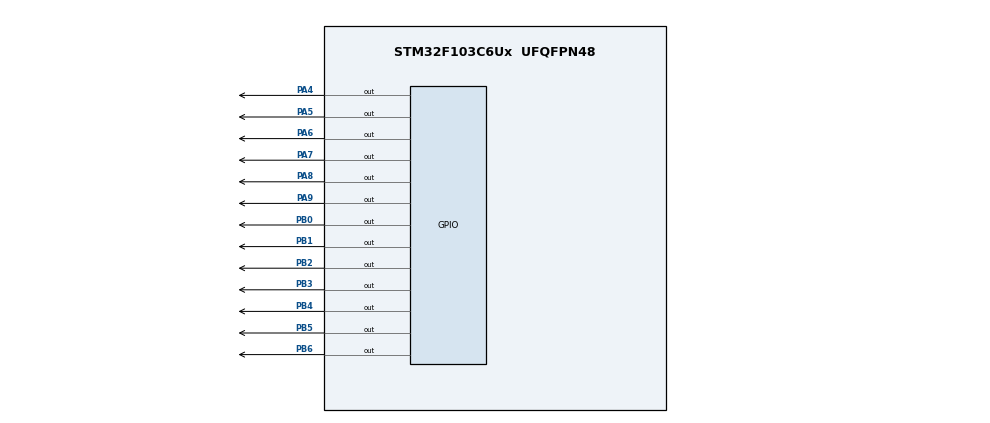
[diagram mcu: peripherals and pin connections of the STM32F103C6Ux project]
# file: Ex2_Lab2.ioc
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Mcu.Family=STM32F1
Mcu.Name=STM32F103C6Ux
Mcu.Package=UFQFPN48
NVIC.PriorityGroup=NVIC_PRIORITYGROUP_4
NVIC.TIM2_IRQn=true\:0\:0\:false\:false\:true\:true\:true
PA4.Signal=GPIO_Output
PA5.Signal=GPIO_Output
PA6.Signal=GPIO_Output
PA7.Signal=GPIO_Output
PA8.Signal=GPIO_Output
PA9.Signal=GPIO_Output
PB0.Signal=GPIO_Output
PB1.Signal=GPIO_Output
PB2.Signal=GPIO_Output
PB3.Signal=GPIO_Output
PB4.Signal=GPIO_Output
PB5.Signal=GPIO_Output
PB6.Signal=GPIO_Output
ProjectManager.HeapSize=0x200
ProjectManager.StackSize=0x400
ProjectManager.TargetToolchain=STM32CubeIDE
RCC.APB1Freq_Value=8000000
RCC.APB2Freq_Value=8000000
TIM2.Period=9
TIM2.Prescaler=7999
VP_SYS_VS_ND.Mode=No_Debug
VP_TIM2_VS_ClockSourceINT.Mode=Internal
board=custom

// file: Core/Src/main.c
/* USER CODE BEGIN Header */
/**
  ******************************************************************************
  * @file           : main.c
  * @brief          : Main program body
  ******************************************************************************
  * @attention
  *
  * <h2><center>&copy; Copyright (c) 2025 STMicroelectronics.
  * All rights reserved.</center></h2>
  *
  * This software component is licensed by ST under BSD 3-Clause license,
  * the "License"; You may not use this file except in compliance with the
  * License. You may obtain a copy of the License at:
  *                        opensource.org/licenses/BSD-3-Clause
  *
  ******************************************************************************
  */
/* USER CODE END Header */
#include "main.h"

/* USER CODE BEGIN Includes */
#include "software_timer.h"
/* USER CODE END Includes */

TIM_HandleTypeDef htim2;

void SystemClock_Config(void);
static void MX_GPIO_Init(void);
static void MX_TIM2_Init(void);

int main(void)
{
  /* USER CODE BEGIN 1 */
	#define SEG_PORT GPIOB
	#define SEG_A    GPIO_PIN_0
	#define SEG_B    GPIO_PIN_1
	#define SEG_C    GPIO_PIN_2
	#define SEG_D    GPIO_PIN_3
	#define SEG_E    GPIO_PIN_4
	#define SEG_F    GPIO_PIN_5
	#define SEG_G    GPIO_PIN_6
	static const uint8_t SEG_CC_PATTERN[10] = {
			/*0*/ 0b0111111,  // a b c d e f
			/*1*/ 0b0000110,  // b c
			/*2*/ 0b1011011,  // a b d e g
			/*3*/ 0b1001111,  // a b c d g
			/*4*/ 0b1100110,  // b c f g
			/*5*/ 0b1101101,  // a c d f g
			/*6*/ 0b1111101,  // a c d e f g
			/*7*/ 0b0000111,  // a b c
			/*8*/ 0b1111111,  // a b c d e f g
			/*9*/ 0b1101111   // a b c d f g
	};
	static const uint16_t SEG_PINS[7] = {SEG_A, SEG_B, SEG_C, SEG_D, SEG_E, SEG_F, SEG_G};

	void display7SEG(int num)
	{
		if (num < 0 || num > 9) {  // invalid → turn all OFF
			HAL_GPIO_WritePin(SEG_PORT,SEG_A|SEG_B|SEG_C|SEG_D|SEG_E|SEG_F|SEG_G, SET); // OFF for common-anode
			return;
		}

		uint8_t pat = SEG_CC_PATTERN[num];  // 1 bits mean "segment ON" (CC logic)

		// Write each segment: ON→RESET, OFF→SET for common-anode
		for (int i = 0; i < 7; ++i) {
			GPIO_PinState level = (pat & (1u << i)) ? GPIO_PIN_RESET  // ON
													: GPIO_PIN_SET;   // OFF
			HAL_GPIO_WritePin(SEG_PORT, SEG_PINS[i], level);
		}
	}
  /* USER CODE END 1 */

  /* MCU Configuration--------------------------------------------------------*/

  /* Reset of all peripherals, Initializes the Flash interface and the Systick. */
  HAL_Init();

  /* Configure the system clock */
  SystemClock_Config();

  /* Initialize all configured peripherals */
  MX_GPIO_Init();
  MX_TIM2_Init();
  /* USER CODE BEGIN 2 */
  HAL_TIM_Base_Start_IT (& htim2 ) ;
  /* USER CODE END 2 */

  /* Infinite loop */
  /* USER CODE BEGIN WHILE */
  void enable(int ena){
	  HAL_GPIO_WritePin(GPIOA, GPIO_PIN_6|GPIO_PIN_7|GPIO_PIN_8|GPIO_PIN_9, GPIO_PIN_SET);
	  switch(ena){
	  case 1:
		  HAL_GPIO_WritePin(GPIOA, GPIO_PIN_6, GPIO_PIN_RESET);
		  break;
	  case 2:
		  HAL_GPIO_WritePin(GPIOA, GPIO_PIN_7, GPIO_PIN_RESET);
		  break;
	  case 3:
		  HAL_GPIO_WritePin(GPIOA, GPIO_PIN_8, GPIO_PIN_RESET);
		  break;
	  case 4:
		  HAL_GPIO_WritePin(GPIOA, GPIO_PIN_9, GPIO_PIN_RESET);
		  break;
	  default:
		  break;
  	  }
  }
  int status = 1;
  setTimer1(50);
  int led_buffer[4] = {1, 2, 3, 0};
  while (1)
  {
	  if(timer1_flag==1){
	  		  switch(status){
	  		  	  case 1:
	  		  		  display7SEG(led_buffer[0]);
	  		  		  enable(status);
	  		  		  status = 2	;
	  			  break;
	  		  	  case 2:
	  		  		  display7SEG(led_buffer[1]);
	  		  		  enable(status);
	  		  		  status = 3	;
	  		  		  break;
	  		  	  case 3:
					  display7SEG(led_buffer[2]);
					  enable(status);
					  status = 4	;
					  break;
	  		  	  case 4:
					  display7SEG(led_buffer[3]);
					  enable(status);
					  status = 1	;
					  break;
	  		  	  default:
	  		  		  break;
	  		  }
	  		  HAL_GPIO_TogglePin(GPIOA, GPIO_PIN_5);
	  		  setTimer1(50);
	  }
  }
}

void SystemClock_Config(void)
{
  RCC_OscInitTypeDef RCC_OscInitStruct = {0};
  RCC_ClkInitTypeDef RCC_ClkInitStruct = {0};

  /** Initializes the RCC Oscillators according to the specified parameters
  * in the RCC_OscInitTypeDef structure.
  */
  RCC_OscInitStruct.OscillatorType = RCC_OSCILLATORTYPE_HSI;
  RCC_OscInitStruct.HSIState = RCC_HSI_ON;
  RCC_OscInitStruct.HSICalibrationValue = RCC_HSICALIBRATION_DEFAULT;
  RCC_OscInitStruct.PLL.PLLState = RCC_PLL_NONE;
  if (HAL_RCC_OscConfig(&RCC_OscInitStruct) != HAL_OK)
  {
    Error_Handler();
  }
  /** Initializes the CPU, AHB and APB buses clocks
  */
  RCC_ClkInitStruct.ClockType = RCC_CLOCKTYPE_HCLK|RCC_CLOCKTYPE_SYSCLK
                              |RCC_CLOCKTYPE_PCLK1|RCC_CLOCKTYPE_PCLK2;
  RCC_ClkInitStruct.SYSCLKSource = RCC_SYSCLKSOURCE_HSI;
  RCC_ClkInitStruct.AHBCLKDivider = RCC_SYSCLK_DIV1;
  RCC_ClkInitStruct.APB1CLKDivider = RCC_HCLK_DIV1;
  RCC_ClkInitStruct.APB2CLKDivider = RCC_HCLK_DIV1;

  if (HAL_RCC_ClockConfig(&RCC_ClkInitStruct, FLASH_LATENCY_0) != HAL_OK)
  {
    Error_Handler();
  }
}

static void MX_TIM2_Init(void)
{

  TIM_ClockConfigTypeDef sClockSourceConfig = {0};
  TIM_MasterConfigTypeDef sMasterConfig = {0};

  htim2.Instance = TIM2;
  htim2.Init.Prescaler = 7999;
  htim2.Init.CounterMode = TIM_COUNTERMODE_UP;
  htim2.Init.Period = 9;
  htim2.Init.ClockDivision = TIM_CLOCKDIVISION_DIV1;
  htim2.Init.AutoReloadPreload = TIM_AUTORELOAD_PRELOAD_DISABLE;
  if (HAL_TIM_Base_Init(&htim2) != HAL_OK)
  {
    Error_Handler();
  }
  sClockSourceConfig.ClockSource = TIM_CLOCKSOURCE_INTERNAL;
  if (HAL_TIM_ConfigClockSource(&htim2, &sClockSourceConfig) != HAL_OK)
  {
    Error_Handler();
  }
  sMasterConfig.MasterOutputTrigger = TIM_TRGO_RESET;
  sMasterConfig.MasterSlaveMode = TIM_MASTERSLAVEMODE_DISABLE;
  if (HAL_TIMEx_MasterConfigSynchronization(&htim2, &sMasterConfig) != HAL_OK)
  {
    Error_Handler();
  }

}

static void MX_GPIO_Init(void)
{
  GPIO_InitTypeDef GPIO_InitStruct = {0};

  /* GPIO Ports Clock Enable */
  __HAL_RCC_GPIOA_CLK_ENABLE();
  __HAL_RCC_GPIOB_CLK_ENABLE();

  /*Configure GPIO pin Output Level */
  HAL_GPIO_WritePin(GPIOA, GPIO_PIN_4|GPIO_PIN_5|GPIO_PIN_6|GPIO_PIN_7
                          |GPIO_PIN_8|GPIO_PIN_9, GPIO_PIN_RESET);

  /*Configure GPIO pin Output Level */
  HAL_GPIO_WritePin(GPIOB, GPIO_PIN_0|GPIO_PIN_1|GPIO_PIN_2|GPIO_PIN_3
                          |GPIO_PIN_4|GPIO_PIN_5|GPIO_PIN_6, GPIO_PIN_RESET);

  /*Configure GPIO pins : PA4 PA5 PA6 PA7
                           PA8 PA9 */
  GPIO_InitStruct.Pin = GPIO_PIN_4|GPIO_PIN_5|GPIO_PIN_6|GPIO_PIN_7
                          |GPIO_PIN_8|GPIO_PIN_9;
  GPIO_InitStruct.Mode = GPIO_MODE_OUTPUT_PP;
  GPIO_InitStruct.Pull = GPIO_NOPULL;
  GPIO_InitStruct.Speed = GPIO_SPEED_FREQ_LOW;
  HAL_GPIO_Init(GPIOA, &GPIO_InitStruct);

  /*Configure GPIO pins : PB0 PB1 PB2 PB3
                           PB4 PB5 PB6 */
  GPIO_InitStruct.Pin = GPIO_PIN_0|GPIO_PIN_1|GPIO_PIN_2|GPIO_PIN_3
                          |GPIO_PIN_4|GPIO_PIN_5|GPIO_PIN_6;
  GPIO_InitStruct.Mode = GPIO_MODE_OUTPUT_PP;
  GPIO_InitStruct.Pull = GPIO_NOPULL;
  GPIO_InitStruct.Speed = GPIO_SPEED_FREQ_LOW;
  HAL_GPIO_Init(GPIOB, &GPIO_InitStruct);

}

/* USER CODE BEGIN 4 */
void HAL_TIM_PeriodElapsedCallback ( TIM_HandleTypeDef * htim ){
	timerRun();
}
/* USER CODE END 4 */

void Error_Handler(void)
{
  __disable_irq();
  while (1)
  {
  }
}

/************************ (C) COPYRIGHT STMicroelectronics *****END OF FILE****/
